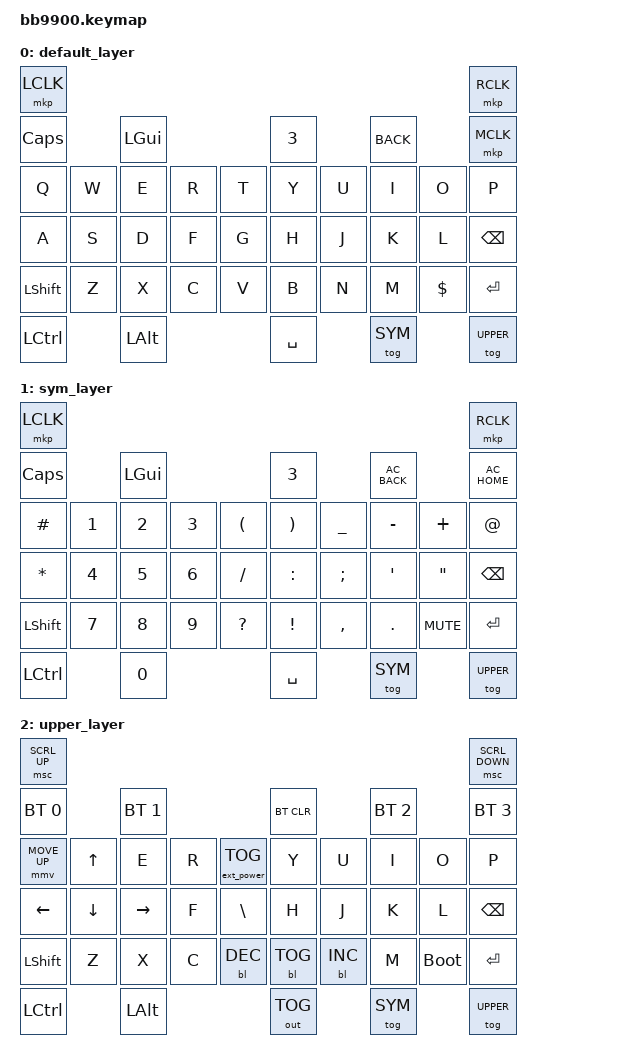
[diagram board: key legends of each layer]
/*
 * Copyright (c) 2023 ZitaoTech
 *
 * SPDX-License-Identifier: MIT
 */

#include <behaviors.dtsi>
#include <dt-bindings/zmk/keys.h>
#include <dt-bindings/zmk/bt.h>
#include <dt-bindings/zmk/outputs.h>
#include <dt-bindings/zmk/mouse.h>
#include <dt-bindings/zmk/backlight.h>
#include <dt-bindings/zmk/ext_power.h>


#define SYM 1
#define UPPER 2


/ {
    keymap {
        compatible = "zmk,keymap";

        default_layer {

            bindings = <
    &mkp LCLK                                                                                                &mkp RCLK
    &kp CLCK            &kp LGUI                          &kp N3                &kp K_BACK                     &mkp MCLK
    &kp Q      &kp W    &kp E    &kp R    &kp T     &kp Y         &kp U       &kp I           &kp O          &kp P
    &kp A      &kp S    &kp D    &kp F    &kp G     &kp H         &kp J       &kp K           &kp L          &kp BSPC
    &kp LSHFT  &kp Z    &kp X    &kp C    &kp V     &kp B         &kp N       &kp M           &kp DLLR       &kp ENTER
    &kp LCTRL           &kp LALT                          &kp SPACE           &tog SYM                       &tog UPPER
            >;
        };

        sym_layer {

            bindings = <
    &mkp LCLK                                                                                               &mkp RCLK
    &kp CLCK            &kp LGUI                   &kp N3                         &kp C_AC_BACK             &kp C_AC_HOME 
    &kp HASH   &kp N1   &kp N2   &kp N3   &kp LPAR      &kp RPAR      &kp UNDER   &kp MINUS      &kp PLUS   &kp AT
    &kp STAR   &kp N4   &kp N5   &kp N6   &kp SLASH     &kp COLON     &kp SEMI    &kp APOS       &kp DQT    &kp BSPC
    &kp LSHFT  &kp N7   &kp N8   &kp N9   &kp QMARK     &kp EXCL      &kp COMMA   &kp DOT        &kp C_MUTE &kp ENTER
    &kp LCTRL           &kp N0                     &kp SPACE                      &tog SYM                  &tog UPPER
            >;
        };

        upper_layer {

            bindings = <
    &msc SCRL_UP                                                                                                       &msc SCRL_DOWN
    &bt BT_SEL 0          &bt BT_SEL 1              &bt BT_CLR                        &bt BT_SEL 2                     &bt BT_SEL 3
    &mmv MOVE_UP &kp UP   &kp E     &kp R     &ext_power EP_TOG &kp Y         &kp U       &kp I          &kp O         &kp P
    &kp LEFT     &kp DOWN &kp RIGHT &kp F     &kp BSLH          &kp H         &kp J       &kp K          &kp L         &kp BSPC
    &kp LSHFT    &kp Z    &kp X     &kp C     &bl BL_DEC        &bl BL_TOG    &bl BL_INC  &kp M          &bootloader   &kp ENTER
    &kp LCTRL             &kp LALT                  &out OUT_TOG                      &tog SYM                         &tog UPPER
            >;
        };
    };
};

